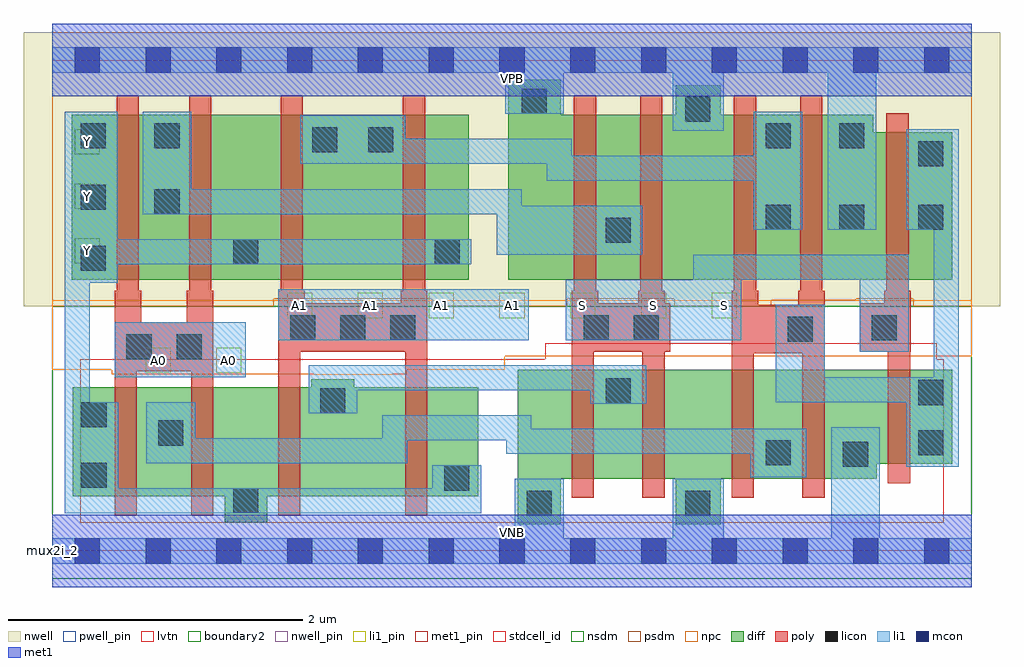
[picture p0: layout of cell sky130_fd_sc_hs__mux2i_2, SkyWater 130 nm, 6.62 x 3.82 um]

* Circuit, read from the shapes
.subckt sky130_fd_sc_hs__mux2i_2 A0 A1 S VGND VNB VPB VPWR Y
XM1 n1 A0 Y VNB sky130_fd_pr__nfet_01v8_lvt w=0.74 l=0.15 m=2
XM2 n2 A1 Y VNB sky130_fd_pr__nfet_01v8_lvt w=0.74 l=0.15 m=2
XM3 n2 S VGND VNB sky130_fd_pr__nfet_01v8_lvt w=0.74 l=0.15 m=2
XM4 n1 n3 VGND VNB sky130_fd_pr__nfet_01v8_lvt w=0.74 l=0.15 m=2
XM5 n3 S VGND VNB sky130_fd_pr__nfet_01v8_lvt w=0.64 l=0.15
XM6 n4 A0 Y VPB sky130_fd_pr__pfet_01v8 w=1.12 l=0.15 m=2
XM7 n5 A1 Y VPB sky130_fd_pr__pfet_01v8 w=1.12 l=0.15 m=2
XM8 n4 S VPWR VPB sky130_fd_pr__pfet_01v8 w=1.12 l=0.15 m=2
XM9 n5 n3 VPWR VPB sky130_fd_pr__pfet_01v8 w=1.12 l=0.15 m=2
XM10 n3 S VPWR VPB sky130_fd_pr__pfet_01v8 w=1 l=0.15
.ends

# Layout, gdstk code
import gdstk
lib = gdstk.Library(unit=1e-6, precision=1e-09)
def R(c, l, rs):  # rectangles x0, y0, x1, y1
    for r in rs: c.add(gdstk.rectangle(r[:2], r[2:], *l))
def A(c, l, x, y, w, h, nx, ny, dx, dy):  # array of equal rectangles
    R(c, l, [(x+i*dx, y+j*dy, x+i*dx+w, y+j*dy+h) for i in range(nx) for j in range(ny)])
def P(c, l, *ps):  # polygons
    for p in ps: c.add(gdstk.Polygon(p, *l))
nwell_pin = (64, 16)
nwell = (64, 20)
diff = (65, 20)
poly = (66, 20)
licon = (66, 44)
li1_pin = (67, 16)
li1 = (67, 20)
mcon = (67, 44)
met1_pin = (68, 16)
met1 = (68, 20)
stdcell_id = (81, 4)
nsdm = (93, 44)
psdm = (94, 20)
npc = (95, 20)
pwell_pin = (122, 16)
lvtn = (125, 44)
boundary2 = (236, 0)

sky130_fd_sc_hs__mux2i_2 = lib.new_cell('sky130_fd_sc_hs__mux2i_2')
R(sky130_fd_sc_hs__mux2i_2, nwell_pin, [(0,3.085,6.24,3.33)])
R(sky130_fd_sc_hs__mux2i_2, nwell, [(-0.19,1.66,6.43,3.52)])
R(sky130_fd_sc_hs__mux2i_2, diff, [(0.135,1.84,2.825,2.96)])
P(sky130_fd_sc_hs__mux2i_2, diff, [(2.89,1.11),(2.05,1.11),(2.05,1.165),(1.76,1.165),(1.76,1.11),(0.14,1.11),(0.14,0.37),(1.17,0.37),(1.17,0.195),(1.46,0.195),(1.46,0.37),(2.89,0.37)],
  [(6.105,2.84),(5.57,2.84),(5.57,2.96),(4.535,2.96),(4.535,3.16),(4.23,3.16),(4.23,2.96),(3.45,2.96),(3.45,3.195),(3.095,3.195),(3.095,1.84),(6.105,1.84)],
  [(6.105,1.23),(3.16,1.23),(3.16,0.18),(3.45,0.18),(3.45,0.49),(4.23,0.49),(4.23,0.18),(4.535,0.18),(4.535,0.49),(5.595,0.49),(5.595,0.59),(6.105,0.59)])
P(sky130_fd_sc_hs__mux2i_2, poly, [(5.825,1.765),(5.81,1.765),(5.81,2.97),(5.66,2.97),(5.66,1.765),(5.645,1.765),(5.645,1.68),(5.48,1.68),(5.48,1.35),(5.67,1.35),(5.67,0.46),(5.82,0.46),(5.82,1.35),(5.825,1.35)],
  [(5.24,1.765),(5.225,1.765),(5.225,3.09),(5.075,3.09),(5.075,1.765),(5.06,1.765),(5.06,1.67),(4.79,1.67),(4.79,1.765),(4.775,1.765),(4.775,3.09),(4.625,3.09),(4.625,1.765),(4.61,1.765),(4.61,0.36),(4.76,0.36),(4.76,1.34),(5.09,1.34),(5.09,0.36),(5.24,0.36)],
  [(4.195,1.68),(4.155,1.68),(4.155,1.765),(4.14,1.765),(4.14,3.09),(3.99,3.09),(3.99,1.765),(3.975,1.765),(3.975,1.68),(3.705,1.68),(3.705,1.765),(3.69,1.765),(3.69,3.09),(3.54,3.09),(3.54,1.765),(3.525,1.765),(3.525,0.36),(3.675,0.36),(3.675,1.35),(4.005,1.35),(4.005,0.36),(4.155,0.36),(4.155,1.35),(4.195,1.35)],
  [(2.545,1.765),(2.53,1.765),(2.53,3.09),(2.38,3.09),(2.38,1.765),(2.365,1.765),(2.365,1.68),(1.715,1.68),(1.715,1.765),(1.7,1.765),(1.7,3.09),(1.55,3.09),(1.55,1.765),(1.535,1.765),(1.535,0.24),(1.685,0.24),(1.685,1.35),(2.395,1.35),(2.395,0.24),(2.545,0.24)],
  [(1.095,1.765),(1.08,1.765),(1.08,3.09),(0.93,3.09),(0.93,1.765),(0.915,1.765),(0.915,1.55),(0.605,1.55),(0.605,1.765),(0.59,1.765),(0.59,3.09),(0.44,3.09),(0.44,1.765),(0.425,1.765),(0.425,0.24),(0.575,0.24),(0.575,1.22),(0.945,1.22),(0.945,0.24),(1.095,0.24)])
A(sky130_fd_sc_hs__mux2i_2, licon, 1.615, 1.43, 0.17, 0.17, 3, 1, 0.34, 0)
A(sky130_fd_sc_hs__mux2i_2, licon, 0.195, 1.9, 0.17, 0.17, 1, 3, 0, 0.415)
R(sky130_fd_sc_hs__mux2i_2, licon, [(3.22,0.24,3.39,0.41), (4.295,0.24,4.465,0.41), (1.23,0.255,1.4,0.425), (2.66,0.41,2.83,0.58), (0.2,0.43,0.37,0.6), (5.365,0.57,5.535,0.74), (4.84,0.58,5.01,0.75), (5.875,0.65,6.045,0.82), (0.72,0.715,0.89,0.885), (0.2,0.84,0.37,1.01), (1.82,0.935,1.99,1.105), (5.875,0.99,6.045,1.16), (3.755,1,3.925,1.17), (0.505,1.3,0.675,1.47), (0.845,1.3,1.015,1.47), (4.99,1.42,5.16,1.59), (3.605,1.43,3.775,1.6), (3.945,1.43,4.115,1.6), (5.56,1.43,5.73,1.6), (1.23,1.945,1.4,2.115), (2.595,1.945,2.765,2.115), (3.755,2.09,3.925,2.26), (4.84,2.18,5.01,2.35), (5.34,2.18,5.51,2.35), (5.875,2.18,6.045,2.35), (0.695,2.285,0.865,2.455), (5.875,2.61,6.045,2.78), (1.765,2.705,1.935,2.875), (2.145,2.705,2.315,2.875), (0.695,2.73,0.865,2.9), (4.84,2.73,5.01,2.9), (5.34,2.73,5.51,2.9), (4.295,2.91,4.465,3.08), (3.185,2.965,3.355,3.135)])
A(sky130_fd_sc_hs__mux2i_2, li1_pin, 1.595, 1.58, 0.17, 0.17, 7, 1, 0.48, 0)
A(sky130_fd_sc_hs__mux2i_2, li1_pin, 0.155, 1.95, 0.17, 0.17, 1, 3, 0, 0.37)
R(sky130_fd_sc_hs__mux2i_2, li1_pin, [(0.635,1.21,0.805,1.38), (1.115,1.21,1.285,1.38)])
R(sky130_fd_sc_hs__mux2i_2, li1, [(0.425,1.18,1.315,1.55), (1.535,1.43,3.235,1.775)])
P(sky130_fd_sc_hs__mux2i_2, li1, [(0,-0.085),(0,0.085),(3.14,0.085),(3.14,0.49),(3.47,0.49),(3.47,0.085),(4.21,0.085),(4.21,0.49),(4.555,0.49),(4.555,0.085),(5.285,0.085),(5.285,0.84),(5.615,0.84),(5.615,0.085),(6.24,0.085),(6.24,-0.085)],
  [(0,3.245),(0,3.415),(6.24,3.415),(6.24,3.245),(5.59,3.245),(5.59,2.18),(5.26,2.18),(5.26,3.245),(4.555,3.245),(4.555,2.85),(4.21,2.85),(4.21,3.245),(3.47,3.245),(3.47,2.965),(3.075,2.965),(3.075,3.245)],
  [(0.085,2.98),(0.445,2.98),(0.445,2.115),(2.845,2.115),(2.845,1.945),(0.445,1.945),(0.445,1.82),(0.255,1.82),(0.255,1.01),(0.45,1.01),(0.45,0.425),(2.58,0.425),(2.58,0.58),(2.91,0.58),(2.91,0.255),(0.085,0.255)],
  [(3.485,1.43),(3.485,1.84),(4.35,1.84),(4.35,2.01),(5.81,2.01),(5.81,1.35),(5.48,1.35),(5.48,1.84),(4.675,1.84),(4.675,1.43)],
  [(5.795,2.18),(5.795,2.86),(6.15,2.86),(6.15,0.57),(5.795,0.57),(5.795,1.01),(4.91,1.01),(4.91,1.67),(5.24,1.67),(5.24,1.18),(5.98,1.18),(5.98,2.18)],
  [(3.355,2.51),(3.355,2.625),(1.685,2.625),(1.685,2.955),(2.395,2.955),(2.395,2.795),(3.525,2.795),(3.525,2.68),(4.76,2.68),(4.76,2.98),(5.09,2.98),(5.09,2.18),(4.76,2.18),(4.76,2.51)],
  [(3.015,2.01),(3.015,2.285),(0.615,2.285),(0.615,2.98),(0.945,2.98),(0.945,2.455),(3.185,2.455),(3.185,2.34),(4.005,2.34),(4.005,2.01)],
  [(3.25,0.83),(5.115,0.83),(5.115,0.5),(4.735,0.5),(4.735,0.66),(3.08,0.66),(3.08,0.75),(2.41,0.75),(2.41,0.595),(0.64,0.595),(0.64,1.01),(0.97,1.01),(0.97,0.765),(2.24,0.765),(2.24,0.92),(3.25,0.92)],
  [(1.74,0.935),(1.74,1.26),(4.03,1.26),(4.03,1),(3.65,1),(3.65,1.09),(2.07,1.09),(2.07,0.935)])
A(sky130_fd_sc_hs__mux2i_2, mcon, 0.155, -0.085, 0.17, 0.17, 13, 2, 0.48, 3.33)
R(sky130_fd_sc_hs__mux2i_2, met1_pin, [(0,0,6.24,0.245), (0,3.085,6.24,3.33)])
R(sky130_fd_sc_hs__mux2i_2, met1, [(0,-0.245,6.24,0.245), (0,3.085,6.24,3.575)])
R(sky130_fd_sc_hs__mux2i_2, stdcell_id, [(0,0,6.24,3.33)])
R(sky130_fd_sc_hs__mux2i_2, nsdm, [(0,-0.19,6.24,1.66)])
P(sky130_fd_sc_hs__mux2i_2, psdm, [(6.24,3.52),(0,3.52),(0,1.66),(1.505,1.66),(1.505,1.71),(2.575,1.71),(2.575,1.66),(3.495,1.66),(3.495,1.71),(4.22,1.71),(4.22,1.66),(4.88,1.66),(4.88,1.7),(5.45,1.7),(5.45,1.71),(5.84,1.71),(5.84,1.66),(6.24,1.66)])
P(sky130_fd_sc_hs__mux2i_2, npc, [(6.24,1.7),(0,1.7),(0,1.23),(0.405,1.23),(0.405,1.2),(1.775,1.2),(1.775,1.195),(2.305,1.195),(2.305,1.2),(2.405,1.2),(2.405,1.23),(3.07,1.23),(3.07,1.32),(6.24,1.32)])
R(sky130_fd_sc_hs__mux2i_2, pwell_pin, [(0,0,6.24,0.245)])
P(sky130_fd_sc_hs__mux2i_2, lvtn, [(6.05,1.3),(6,1.3),(6,1.41),(3.345,1.41),(3.345,1.3),(0.19,1.3),(0.19,0.19),(6.05,0.19)])
R(sky130_fd_sc_hs__mux2i_2, boundary2, [(0,0,6.24,3.33)])
sky130_fd_sc_hs__mux2i_2.add(gdstk.Label('mux2i_2', (0,0), layer=83, texttype=44))
sky130_fd_sc_hs__mux2i_2.add(gdstk.Label('VNB', (3.12,0.123), layer=64, texttype=59))
sky130_fd_sc_hs__mux2i_2.add(gdstk.Label('VPB', (3.12,3.208), layer=64, texttype=5))
sky130_fd_sc_hs__mux2i_2.add(gdstk.Label('VPWR', (3.12,3.208), layer=68, texttype=5))
sky130_fd_sc_hs__mux2i_2.add(gdstk.Label('VGND', (3.12,0.123), layer=68, texttype=5))
sky130_fd_sc_hs__mux2i_2.add(gdstk.Label('A0', (0.72,1.295), layer=67, texttype=5))
sky130_fd_sc_hs__mux2i_2.add(gdstk.Label('A0', (1.2,1.295), layer=67, texttype=5))
sky130_fd_sc_hs__mux2i_2.add(gdstk.Label('Y', (0.24,2.035), layer=67, texttype=5))
sky130_fd_sc_hs__mux2i_2.add(gdstk.Label('Y', (0.24,2.405), layer=67, texttype=5))
sky130_fd_sc_hs__mux2i_2.add(gdstk.Label('Y', (0.24,2.775), layer=67, texttype=5))
sky130_fd_sc_hs__mux2i_2.add(gdstk.Label('S', (3.6,1.665), layer=67, texttype=5))
sky130_fd_sc_hs__mux2i_2.add(gdstk.Label('S', (4.08,1.665), layer=67, texttype=5))
sky130_fd_sc_hs__mux2i_2.add(gdstk.Label('S', (4.56,1.665), layer=67, texttype=5))
sky130_fd_sc_hs__mux2i_2.add(gdstk.Label('A1', (1.68,1.665), layer=67, texttype=5))
sky130_fd_sc_hs__mux2i_2.add(gdstk.Label('A1', (2.16,1.665), layer=67, texttype=5))
sky130_fd_sc_hs__mux2i_2.add(gdstk.Label('A1', (2.64,1.665), layer=67, texttype=5))
sky130_fd_sc_hs__mux2i_2.add(gdstk.Label('A1', (3.12,1.665), layer=67, texttype=5))

lib.write_gds('sky130_fd_sc_hs__mux2i_2.gds')
